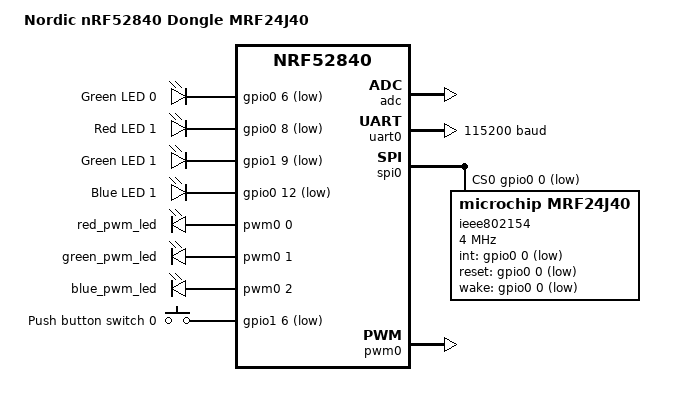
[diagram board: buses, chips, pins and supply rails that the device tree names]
/*
 * Copyright (c) 2018-2023 Nordic Semiconductor ASA
 * Copyright (c) 2017 Linaro Limited
 *
 * SPDX-License-Identifier: Apache-2.0
 */

/dts-v1/;
#include <nordic/nrf52840_qiaa.dtsi>
#include "nrf52840_dongle_mrf24j40-pinctrl.dtsi"

/* Delete Nordic's IEEE 802.15.4 radio */
/delete-node/ &ieee802154;

/ {
	model = "Nordic nRF52840 Dongle MRF24J40";
	compatible = "nordic,nrf52840-dongle-mrf24j40";

	chosen {
		zephyr,console = &uart0;
		zephyr,shell-uart = &uart0;
		zephyr,uart-mcumgr = &uart0;
		zephyr,bt-mon-uart = &uart0;
		zephyr,bt-c2h-uart = &uart0;
		zephyr,sram = &sram0;
		zephyr,flash = &flash0;
		zephyr,code-partition = &slot0_partition;
		zephyr,ieee802154 = &ieee802154;
	};

	leds {
		compatible = "gpio-leds";
		led0_green: led_0 {
			gpios = <&gpio0 6 GPIO_ACTIVE_LOW>;
			label = "Green LED 0";
		};
		led1_red: led_1 {
			gpios = <&gpio0 8 GPIO_ACTIVE_LOW>;
			label = "Red LED 1";
		};
		led1_green: led_2 {
			gpios = <&gpio1 9 GPIO_ACTIVE_LOW>;
			label = "Green LED 1";
		};
		led1_blue: led_3 {
			gpios = <&gpio0 12 GPIO_ACTIVE_LOW>;
			label = "Blue LED 1";
		};
	};

	pwmleds {
		compatible = "pwm-leds";
		red_pwm_led: pwm_led_0 {
			pwms = <&pwm0 0 PWM_MSEC(20) PWM_POLARITY_INVERTED>;
		};
		green_pwm_led: pwm_led_1 {
			pwms = <&pwm0 1 PWM_MSEC(20) PWM_POLARITY_INVERTED>;
		};
		blue_pwm_led: pwm_led_2 {
			pwms = <&pwm0 2 PWM_MSEC(20) PWM_POLARITY_INVERTED>;
		};
	};

	buttons {
		compatible = "gpio-keys";
		button0: button_0 {
			gpios = <&gpio1 6 (GPIO_PULL_UP | GPIO_ACTIVE_LOW)>;
			label = "Push button switch 0";
		};
	};

	/* These aliases are provided for compatibility with samples */
	aliases {
		sw0 = &button0;
		led0 = &led0_green;
		led1 = &led1_red;
		led2 = &led1_green;
		led3 = &led1_blue;
		led0-green = &led0_green;
		led1-red   = &led1_red;
		led1-green = &led1_green;
		led1-blue  = &led1_blue;
		pwm-led0 = &red_pwm_led;
		pwm-led1 = &green_pwm_led;
		pwm-led2 = &blue_pwm_led;
		red-pwm-led = &red_pwm_led;
		green-pwm-led = &green_pwm_led;
		blue-pwm-led = &blue_pwm_led;
		mcuboot-button0 = &button0;
		mcuboot-led0 = &led0_green;
		watchdog0 = &wdt0;
	};
};

&adc {
	status = "okay";
};

&gpiote {
	status = "okay";
};

&gpio0 {
	status = "okay";
};

&gpio1 {
	status = "okay";
};

&uart0 {
	compatible = "nordic,nrf-uarte";
	status = "okay";
	current-speed = <115200>;
	pinctrl-0 = <&uart0_default>;
	pinctrl-1 = <&uart0_sleep>;
	pinctrl-names = "default", "sleep";
};

&spi0 {
	compatible = "nordic,nrf-spi";
	status = "okay";
	pinctrl-0 = <&spi0_default>;
	pinctrl-1 = <&spi0_sleep>;
	pinctrl-names = "default", "sleep";
	cs-gpios = <&gpio0 0 GPIO_ACTIVE_LOW>;
	
	ieee802154: mrf24j40@0 {
		compatible = "microchip,mrf24j40";
		status = "okay";
		reg = <0>;
		spi-max-frequency = <4000000>;
		int-gpios = <&gpio0 0 GPIO_ACTIVE_LOW>;
		reset-gpios = <&gpio0 0 GPIO_ACTIVE_LOW>;
		wake-gpios = <&gpio0 0 GPIO_ACTIVE_LOW>;
		nonbeacon-mode-en;
	};
};

&pwm0 {
	status = "okay";
	pinctrl-0 = <&pwm0_default>;
	pinctrl-1 = <&pwm0_sleep>;
	pinctrl-names = "default", "sleep";
};

&flash0 {
	partitions {
		compatible = "fixed-partitions";
		#address-cells = <1>;
		#size-cells = <1>;

		boot_partition: partition@0 {
			label = "mcuboot";
			reg = <0x00000000 0x00012000>;
		};

		slot0_partition: partition@12000 {
			label = "image-0";
			reg = <0x00012000 0x00075000>;
		};
		slot1_partition: partition@87000 {
			label = "image-1";
			reg = <0x00087000 0x00075000>;
		};
		storage_partition: partition@fc000 {
			label = "storage";
			reg = <0x000fc000 0x00004000>;
		};
	};
};
